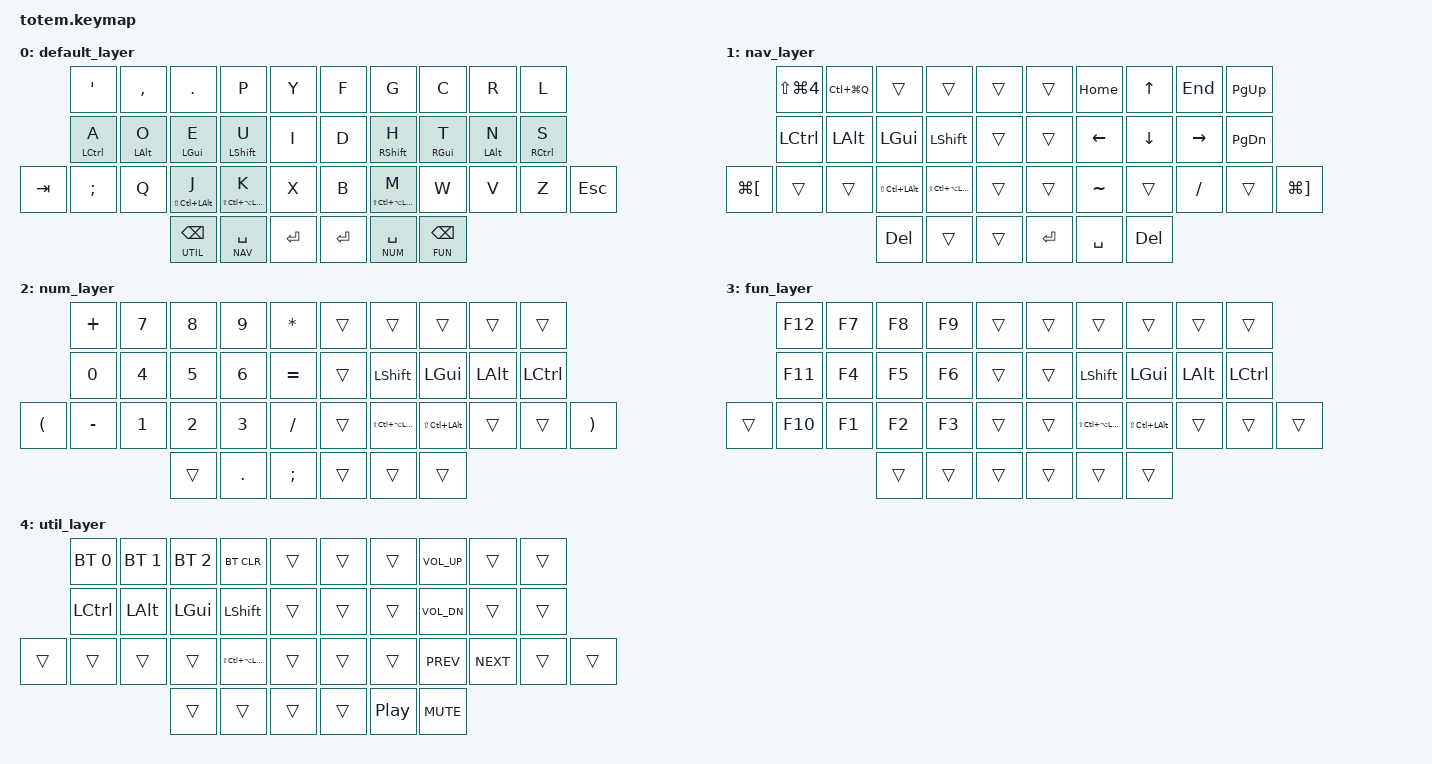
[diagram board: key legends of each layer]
// Copyright (c) 2022 The ZMK Contributors
// SPDX-License-Identifier: MIT

#include "zmk-nodefree-config/helper.h"
#include "zmk-nodefree-config/keypos_def/keypos_38keys.h"
#include <behaviors.dtsi>
#include <dt-bindings/zmk/keys.h>
#include <dt-bindings/zmk/bt.h>

#define XXX &none
#define TODO ___
#define ___ &trans

#define BASE 0
#define NAV 1
#define NUM 2
#define FUN 3
#define UTIL 4

#include "combos.dtsi"

// navigation bindings for back/forward and prev tab/next tab
#define BACK &kp LG(LBKT)
#define FWD &kp LG(RBKT)
#define SCRCAP &kp LS(LG(N4))
#define LOCK &kp LC(LG(Q))

// hyper and meh keys
#define HYP LS(LC(LA(LGUI)))
#define MEH LS(LC(LALT))

/* ------------------------ general config ----------------------- */

#define QUICK_TAP_MS 175

// smart-layer config
&caps_word {  
    // /delete-property/ ignore-modifiers; // mods deactivate, requires PR #1451
    /delete-property/ ignore-numbers;
    continue-list = <BACKSPACE ENTER DELETE UNDERSCORE MINUS>;
};

// key-repeat config
&key_repeat {
    usage-pages = <HID_USAGE_KEY HID_USAGE_CONSUMER>; // repeat all keys
};

// sticky key aka 'one-shot mods'
&sk {
    release-after-ms = <2000>;
    quick-release;
};

// default layer-tap config
&lt {  
    flavor = "balanced";
    tapping-term-ms = <200>;
    quick-tap-ms = <QUICK_TAP_MS>;
};

#define KEYS_L LT0 LT1 LT2 LT3 LT4 LM0 LM1 LM2 LM3 LM4 LB0 LB1 LB2 LB3 LB4  // left hand
#define KEYS_R RT0 RT1 RT2 RT3 RT4 RM0 RM1 RM2 RM3 RM4 RB0 RB1 RB2 RB3 RB4  // right hand
#define THUMBS LH2 LH1 LH0 RH0 RH1 RH2                                      // thumbs

#define MAKE_HRM(NAME, HOLD, TAP, TRIGGER_POS) \
    ZMK_BEHAVIOR(NAME, hold_tap, \
        flavor = "balanced"; \
        tapping-term-ms = <280>; \
        quick-tap-ms = <QUICK_TAP_MS>; \
        require-prior-idle-ms = <150>; \
        bindings = <HOLD>, <TAP>; \
        hold-trigger-key-positions = <TRIGGER_POS>; \
        hold-trigger-on-release; \
    )
MAKE_HRM(hml, &kp, &kp, KEYS_R THUMBS)  // left-hand HRMs
MAKE_HRM(hmr, &kp, &kp, KEYS_L THUMBS)  // right-hand HRMs

/ {
// TODO: Add hyper key as HRM
    keymap {
        compatible = "zmk,keymap";
        default_layer { // ColemakDHm
            bindings = <
            &kp SQT         &kp COMMA     &kp PERIOD       &kp P            &kp Y              &kp F         &kp G              &kp C            &kp R         &kp L 
            &hml LCTRL A    &hml LALT O   &hml LGUI E      &hml LSHFT U     &kp I              &kp D         &hmr RSHFT H       &hmr RGUI T      &hmr LALT N   &hmr RCTRL S
&kp TAB     &kp SEMICOLON   &kp Q         &hml MEH J       &hml HYP K       &kp X              &kp B         &hmr HYP M         &kp W            &kp V         &kp Z        &kp ESC
                                          &lt UTIL BSPC    &lt NAV SPACE    &kp RET            &kp RET       &lt NUM SPACE      &lt FUN BSPC
            >;
        };
        nav_layer { 
            bindings = <
            SCRCAP           LOCK           ___            ___             ___                ___           &kp HOME          &kp UP          &kp END       &kp PAGE_UP 
            &kp LCTRL        &kp LALT       &kp LGUI       &kp LSHFT       ___                ___           &kp LEFT          &kp DOWN        &kp RIGHT     &kp PAGE_DOWN
    BACK    ___              ___            &kp MEH        &kp HYP         ___                ___           &kp TILDE         ___             &kp FSLH      ___             FWD
                                            &kp DEL        ___             ___                &kp RET       &kp SPACE          &kp DEL
            >;
        }; 
        num_layer {
            bindings = <
            &kp PLUS     &kp N7       &kp N8          &kp  N9         &kp STAR           ___           ___               ___             ___           ___ 
            &kp N0       &kp N4       &kp N5          &kp  N6         &kp EQUAL          ___           &kp LSHFT         &kp LGUI        &kp LALT      &kp LCTRL
  &kp LPAR  &kp MINUS    &kp N1       &kp N2          &kp  N3         &kp FSLH           ___           &kp HYP           &kp MEH         ___           ___            &kp RPAR
                                      ___             &kp  DOT        &kp SEMI           ___           ___               ___
            >;
        };
        fun_layer {
            bindings = <
            &kp F12      &kp F7       &kp F8          &kp F9          ___                ___           ___               ___             ___           ___
            &kp F11      &kp F4       &kp F5          &kp F6          ___                ___           &kp LSHFT         &kp LGUI        &kp LALT      &kp LCTRL 
    ___     &kp F10      &kp F1       &kp F2          &kp F3          ___                ___           &kp HYP           &kp MEH         ___           ___             ___
                                      ___             ___             ___                ___           ___               ___
            >;
        };
        util_layer {
            bindings = <
            &bt BT_SEL 0 &bt BT_SEL 1 &bt BT_SEL 2    &bt BT_CLR     ___                ___           ___                &kp C_VOL_UP    ___           ___
            &kp LCTRL     &kp LALT     &kp LGUI       &kp LSHFT      ___                ___           ___                &kp C_VOL_DN    ___           ___ 
    ___     ___          ___          ___             &kp HYP        ___                ___           ___                &kp C_PREV      &kp C_NEXT    ___             ___
                                      ___             ___            ___                ___           &kp C_PLAY_PAUSE   &kp C_MUTE
            >;
        };  
    };
};
    
/* --------------------------------- combos --------------------------------- */
/*
   ╭────────────────────┬────────────────────╮     ╭─────────────────────┬─────────────────────╮
   │  0   1   2   3   4 │  5   6   7   8   9 │     │ LT4 LT3 LT2 LT1 LT0 │ RT0 RT1 RT2 RT3 RT4 │
   │ 10  11  12  13  14 │ 15  16  17  18  19 │     │ LM4 LM3 LM2 LM1 LM0 │ RM0 RM1 RM2 RM3 RM4 │
  20 21  22  23  24  25 │ 26  27  28  29  30 31  LB5 LB4 LB3 LB2 LB1 LB0 │ RB0 RB1 RB2 RB3 RB4 RB5
   ╰───────╮ 32  33  34 │ 35  36  37 ╭───────╯     ╰───────╮ LH2 LH1 LH0 │ RH0 RH1 RH2 ╭───────╯
           ╰────────────┴────────────╯                     ╰─────────────┴─────────────╯             */
// use global-quick-tap-ms for combos (requires PR 1387)
